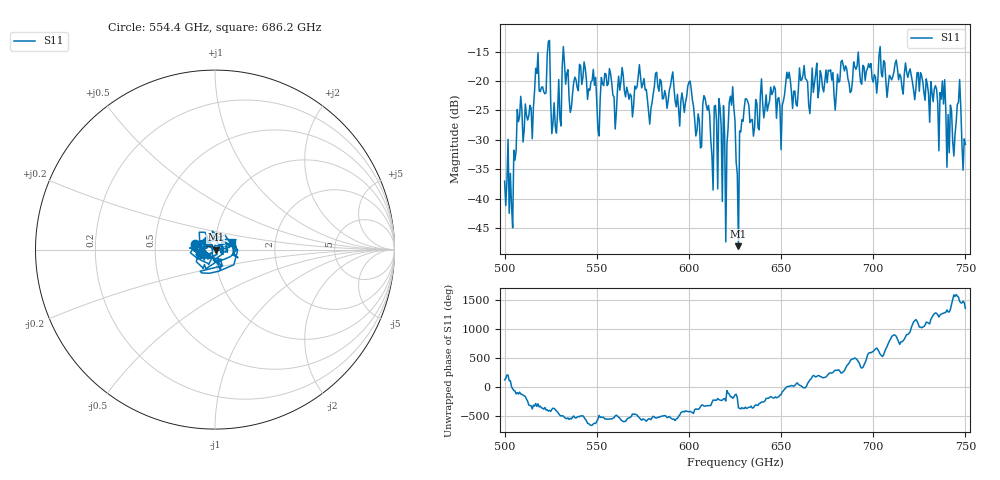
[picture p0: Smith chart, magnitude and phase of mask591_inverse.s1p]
!Created with skrf (http://scikit-rf.org).
# GHz S MA R 50.0
!freq magS11 angS11
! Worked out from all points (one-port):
!   401 points, 500 GHz to 750 GHz, reference 50 ohm
!   lowest |S11| = -48.1 dB at 626.9 GHz (marker M1), VSWR 1.01, Z = 50.4 - j0.0279 ohm
!   |S11| at or under -10 dB: start of sweep to end of sweep
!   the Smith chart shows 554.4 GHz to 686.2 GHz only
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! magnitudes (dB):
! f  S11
! 500 GHz  -37.0
! 503.8 GHz  -41.2
! 508.1 GHz  -26.0
! 513.8 GHz  -24.1
! 517.5 GHz  -18.7
! 523.8 GHz  -13.3
! 526.9 GHz  -23.7
! 531.2 GHz  -17.6
! 541.9 GHz  -20.6
! 551.2 GHz  -29.3
! 562.5 GHz  -21.6
! 593.8 GHz  -22.3
! 600.6 GHz  -20.0
! 605.6 GHz  -26.7
! 609.4 GHz  -24.0
! 617.5 GHz  -27.6
! 619.4 GHz  -29.0
! 623.1 GHz  -24.1
! 625 GHz  -26.7
! 626.9 GHz  -48.1
! 631.2 GHz  -23.0
! 656.2 GHz  -24.7
! 687.5 GHz  -21.9
! 718.8 GHz  -19.4
! 737.5 GHz  -20.0
! 742.5 GHz  -25.2
! 746.2 GHz  -23.6
! 750 GHz  -30.8
